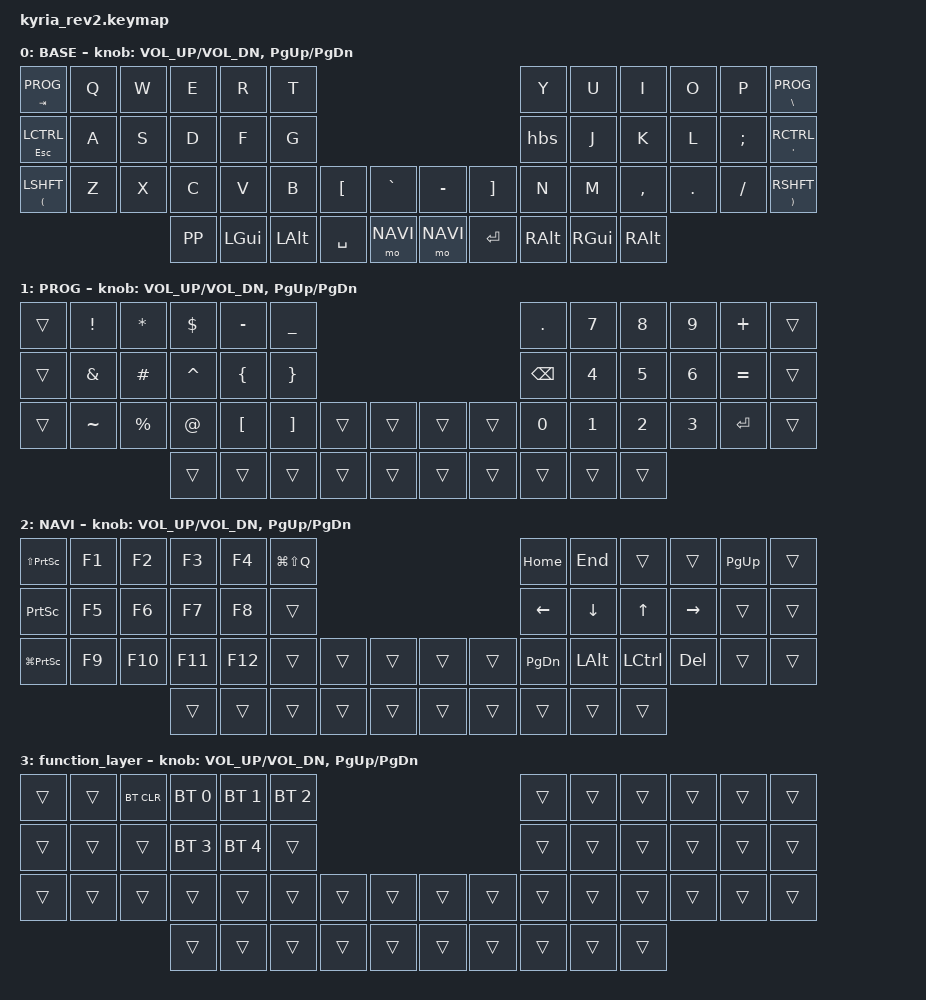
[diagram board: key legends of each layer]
/*
 * Copyright (c) 2020 The ZMK Contributors
 *
 * SPDX-License-Identifier: MIT
 */

#include <behaviors.dtsi>
#include <dt-bindings/zmk/bt.h>
#include <dt-bindings/zmk/keys.h>

#define BASE 0
#define PROG 1
#define NAVI 2

#define KILL    LG(LS(Q))
#define PSCR_SC LS(PSCRN)
#define PSCR_RT LG(PSCRN)

/ {
    behaviors {
      myt: my_tap {
        compatible = "zmk,behavior-hold-tap";
        label = "MY_TAP";
        flavor = "hold-preferred";
        tapping-term-ms = <250>;
        quick-tap-ms = <200>;
        bindings = <&kp>, <&mo>;
      };
      hbs: h_backspace {
        compatible = "zmk,behavior-mod-morph";
        label = "H_BACKSPACE";
        #binding-cells = <0>;
        bindings = <&kp H>, <&kp BSPC>;
        mods = <(MOD_LCTL)>;
      };
    };
    keymap {
        compatible = "zmk,keymap";

        BASE {
            bindings = <
//    ┌────────────┬───┬───┬──────┬──────┬──────┐                             ┌──────┬──────┬──────┬───┬───┬──────────┐
//    │  tab PROG  │ Q │ W │  E   │  R   │  T   │                             │  Y   │  U   │  I   │ O │ P │  \ PROG  │
//    ├────────────┼───┼───┼──────┼──────┼──────┤                             ├──────┼──────┼──────┼───┼───┼──────────┤
//    │  esc lctrl │ A │ S │  D   │  F   │  G   │                             │ h/bs │  J   │  K   │ L │ ; │  ' rctrl │
//    ├────────────┼───┼───┼──────┼──────┼──────┼─────┬──────┐   ┌──────┬─────┼──────┼──────┼──────┼───┼───┼──────────┤
//    │   ( lshft  │ Z │ X │  C   │  V   │  B   │  [  │  `   │   │  -   │  ]  │  N   │  M   │  ,   │ . │ / │  ) rshft │
//    └────────────┴───┴───┼──────┼──────┼──────┼─────┼──────┤   ├──────┼─────┼──────┼──────┼──────┼───┴───┴──────────┘
//                         │ mply │ lgui │ lalt │ spc │ NAVI │   │ NAVI │ ret │ ralt │ rgui │ ralt │
//                         └──────┴──────┴──────┴─────┴──────┘   └──────┴─────┴──────┴──────┴──────┘
  &myt TAB PROG     &kp Q   &kp W   &kp E      &kp R      &kp T                                                         &kp Y      &kp U      &kp I       &kp O     &kp P      &myt BSLH PROG
  &myt ESC LCTRL    &kp A   &kp S   &kp D      &kp F      &kp G                                                         &hbs       &kp J      &kp K       &kp L     &kp SEMI   &myt SQT RCTRL
  &myt LPAR LSHFT   &kp Z   &kp X   &kp C      &kp V      &kp B      &kp LBKT    &kp GRAVE       &kp MINUS   &kp RBKT   &kp N      &kp M      &kp COMMA   &kp DOT   &kp FSLH   &myt RPAR RSHFT
                                    &kp K_PP   &kp LGUI   &kp LALT   &kp SPACE   &mo NAVI        &mo NAVI    &kp RET    &kp RALT   &kp RGUI   &kp RALT
            >;

            sensor-bindings = <&inc_dec_kp C_VOL_UP C_VOL_DN &inc_dec_kp PG_UP PG_DN>;
        };
        PROG {
            bindings = <
//    ┌────┬───┬───┬────┬────┬────┐                       ┌────┬────┬────┬───┬─────┬────┐
//    │    │ ! │ * │ $  │ -  │ _  │                       │ .  │ 7  │ 8  │ 9 │  +  │    │
//    ├────┼───┼───┼────┼────┼────┤                       ├────┼────┼────┼───┼─────┼────┤
//    │    │ & │ # │ ^  │ {  │ }  │                       │ bs │ 4  │ 5  │ 6 │  =  │    │
//    ├────┼───┼───┼────┼────┼────┼────┬────┐   ┌────┬────┼────┼────┼────┼───┼─────┼────┤
//    │    │ ~ │ % │ @  │ [  │ ]  │    │    │   │    │    │ 0  │ 1  │ 2  │ 3 │ ret │    │
//    └────┴───┴───┼────┼────┼────┼────┼────┤   ├────┼────┼────┼────┼────┼───┴─────┴────┘
//                 │    │    │    │    │    │   │    │    │    │    │    │
//                 └────┴────┴────┴────┴────┘   └────┴────┴────┴────┴────┘
  &trans   &kp EXCL    &kp ASTRK   &kp DLLR    &kp MINUS   &kp UNDER                                           &kp DOT    &kp N7   &kp N8   &kp N9   &kp PLUS    &trans
  &trans   &kp AMPS    &kp HASH    &kp CARET   &kp LBRC    &kp RBRC                                            &kp BSPC   &kp N4   &kp N5   &kp N6   &kp EQUAL   &trans
  &trans   &kp TILDE   &kp PRCNT   &kp AT      &kp LBKT    &kp RBKT    &trans   &trans       &trans   &trans   &kp N0     &kp N1   &kp N2   &kp N3   &kp RET     &trans
                                   &trans      &trans      &trans      &trans   &trans       &trans   &trans   &trans     &trans   &trans
            >;

            sensor-bindings = <&inc_dec_kp C_VOL_UP C_VOL_DN &inc_dec_kp PG_UP PG_DN>;
        };
        NAVI {
            bindings = <
//    ┌─────────┬────┬─────┬─────┬─────┬──────┐                       ┌──────┬──────┬───────┬───────┬──────┬────┐
//    │ PSCR_SC │ F1 │ F2  │ F3  │ F4  │ KILL │                       │ home │ end  │       │       │ pgup │    │
//    ├─────────┼────┼─────┼─────┼─────┼──────┤                       ├──────┼──────┼───────┼───────┼──────┼────┤
//    │  PSCRN  │ F5 │ F6  │ F7  │ F8  │      │                       │ left │ down │  up   │ right │      │    │
//    ├─────────┼────┼─────┼─────┼─────┼──────┼────┬────┐   ┌────┬────┼──────┼──────┼───────┼───────┼──────┼────┤
//    │ PSCR_RT │ F9 │ F10 │ F11 │ F12 │      │    │    │   │    │    │ pgdn │ lalt │ lctrl │  del  │      │    │
//    └─────────┴────┴─────┼─────┼─────┼──────┼────┼────┤   ├────┼────┼──────┼──────┼───────┼───────┴──────┴────┘
//                         │     │     │      │    │    │   │    │    │      │      │       │
//                         └─────┴─────┴──────┴────┴────┘   └────┴────┴──────┴──────┴───────┘
  &kp PSCR_SC   &kp F1   &kp F2    &kp F3    &kp F4    &kp KILL                                           &kp HOME    &kp END    &trans      &trans      &kp PG_UP   &trans
  &kp PSCRN     &kp F5   &kp F6    &kp F7    &kp F8    &trans                                             &kp LEFT    &kp DOWN   &kp UP      &kp RIGHT   &trans      &trans
  &kp PSCR_RT   &kp F9   &kp F10   &kp F11   &kp F12   &trans     &trans   &trans       &trans   &trans   &kp PG_DN   &kp LALT   &kp LCTRL   &kp DEL     &trans      &trans
                                   &trans    &trans    &trans     &trans   &trans       &trans   &trans   &trans      &trans     &trans
            >;

            sensor-bindings = <&inc_dec_kp C_VOL_UP C_VOL_DN &inc_dec_kp PG_UP PG_DN>;
        };
        function_layer {
            bindings = <
//    ┌────┬────┬────────┬───────┬───────┬───────┐                       ┌────┬────┬────┬────┬────┬────┐
//    │    │    │ BT_CLR │ bt> 0 │ bt> 1 │ bt> 2 │                       │    │    │    │    │    │    │
//    ├────┼────┼────────┼───────┼───────┼───────┤                       ├────┼────┼────┼────┼────┼────┤
//    │    │    │        │ bt> 3 │ bt> 4 │       │                       │    │    │    │    │    │    │
//    ├────┼────┼────────┼───────┼───────┼───────┼────┬────┐   ┌────┬────┼────┼────┼────┼────┼────┼────┤
//    │    │    │        │       │       │       │    │    │   │    │    │    │    │    │    │    │    │
//    └────┴────┴────────┼───────┼───────┼───────┼────┼────┤   ├────┼────┼────┼────┼────┼────┴────┴────┘
//                       │       │       │       │    │    │   │    │    │    │    │    │
//                       └───────┴───────┴───────┴────┴────┘   └────┴────┴────┴────┴────┘
  &trans   &trans   &bt BT_CLR   &bt BT_SEL 0   &bt BT_SEL 1   &bt BT_SEL 2                                           &trans   &trans   &trans   &trans   &trans   &trans
  &trans   &trans   &trans       &bt BT_SEL 3   &bt BT_SEL 4   &trans                                                 &trans   &trans   &trans   &trans   &trans   &trans
  &trans   &trans   &trans       &trans         &trans         &trans         &trans   &trans       &trans   &trans   &trans   &trans   &trans   &trans   &trans   &trans
                                 &trans         &trans         &trans         &trans   &trans       &trans   &trans   &trans   &trans   &trans
            >;

            sensor-bindings = <&inc_dec_kp C_VOL_UP C_VOL_DN &inc_dec_kp PG_UP PG_DN>;
        };
    };
};
